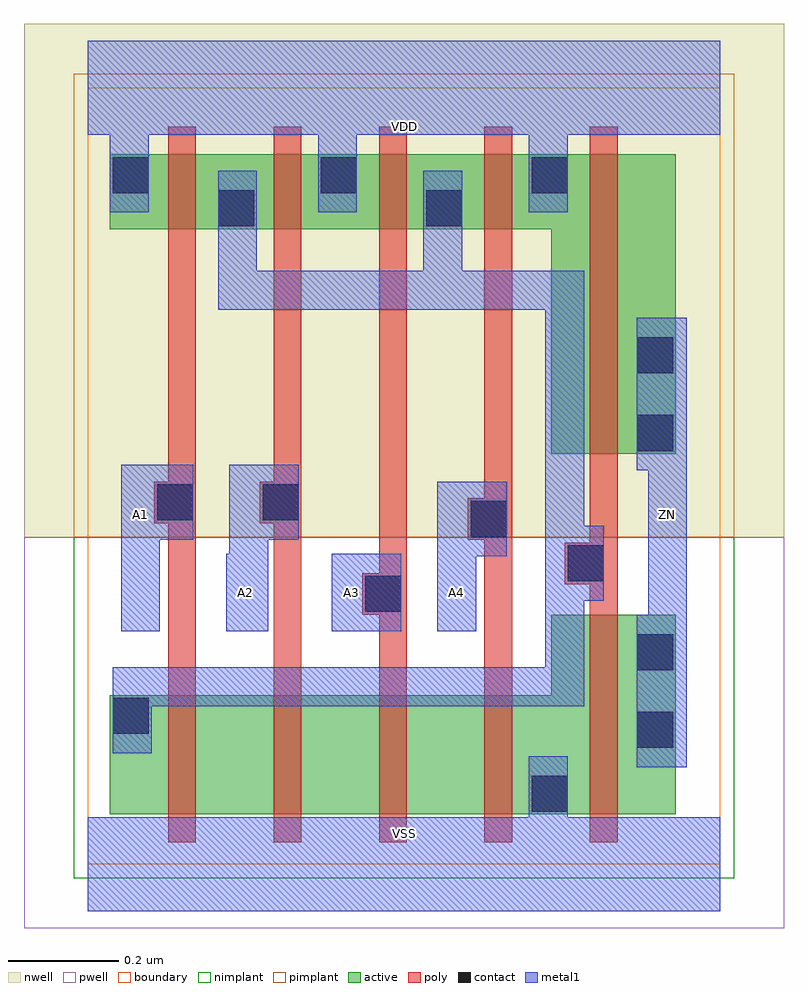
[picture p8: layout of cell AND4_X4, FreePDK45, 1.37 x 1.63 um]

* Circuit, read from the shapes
.subckt AND4_X4 A1 A2 A3 A4 VDD VSS ZN
M1 n1 A1 n2 VSUBS nfet w=0.215u l=0.05u
M2 n3 A2 n1 VSUBS nfet w=0.215u l=0.05u
M3 n4 A3 n3 VSUBS nfet w=0.215u l=0.05u
M4 VSS A4 n4 VSUBS nfet w=0.215u l=0.05u
M5 ZN n2 VSS VSUBS nfet w=0.36u l=0.05u
M6 n2 A1 VDD n5 pfet w=0.135u l=0.05u
M7 VDD A2 n2 n5 pfet w=0.135u l=0.05u
M8 n2 A3 VDD n5 pfet w=0.135u l=0.05u
M9 VDD A4 n2 n5 pfet w=0.135u l=0.05u
M10 ZN n2 VDD n5 pfet w=0.54u l=0.05u
.ends

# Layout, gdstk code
import gdstk
lib = gdstk.Library(unit=1e-6, precision=1e-10)
def R(c, l, rs):  # rectangles x0, y0, x1, y1
    for r in rs: c.add(gdstk.rectangle(r[:2], r[2:], *l))
def P(c, l, *ps):  # polygons
    for p in ps: c.add(gdstk.Polygon(p, *l))
active = (1, 0)
pwell = (2, 0)
nwell = (3, 0)
nimplant = (4, 0)
pimplant = (5, 0)
poly = (9, 0)
contact = (10, 0)
metal1 = (11, 0)
boundary = (235, 0)

and4_x4 = lib.new_cell('AND4_X4')
P(and4_x4, active, [(0.04,0.09),(1.06,0.09),(1.06,0.45),(0.835,0.45),(0.835,0.305),(0.04,0.305)],
  [(0.04,1.145),(0.835,1.145),(0.835,0.74),(1.06,0.74),(1.06,1.28),(0.04,1.28)])
R(and4_x4, pwell, [(-0.115,-0.115,1.255,0.59)])
R(and4_x4, nwell, [(-0.115,0.59,1.255,1.515)])
R(and4_x4, nimplant, [(-0.025,-0.025,1.165,0.59)])
R(and4_x4, pimplant, [(-0.025,0.59,1.165,1.425)])
P(and4_x4, poly, [(0.12,0.615),(0.145,0.615),(0.145,0.04),(0.195,0.04),(0.195,1.33),(0.145,1.33),(0.145,0.69),(0.12,0.69)],
  [(0.31,0.615),(0.335,0.615),(0.335,0.04),(0.385,0.04),(0.385,1.33),(0.335,1.33),(0.335,0.69),(0.31,0.69)],
  [(0.495,0.45),(0.525,0.45),(0.525,0.04),(0.575,0.04),(0.575,1.33),(0.525,1.33),(0.525,0.525),(0.495,0.525)],
  [(0.685,0.585),(0.715,0.585),(0.715,0.04),(0.765,0.04),(0.765,1.33),(0.715,1.33),(0.715,0.66),(0.685,0.66)],
  [(0.86,0.505),(0.905,0.505),(0.905,0.04),(0.955,0.04),(0.955,1.33),(0.905,1.33),(0.905,0.58),(0.86,0.58)])
R(and4_x4, contact, [(0.8,0.095,0.865,0.16), (0.99,0.21,1.055,0.275), (0.045,0.235,0.11,0.3), (0.99,0.35,1.055,0.415), (0.5,0.455,0.565,0.52), (0.865,0.51,0.93,0.575), (0.69,0.59,0.755,0.655), (0.125,0.62,0.19,0.685), (0.315,0.62,0.38,0.685), (0.99,0.745,1.055,0.81), (0.99,0.885,1.055,0.95), (0.235,1.15,0.3,1.215), (0.61,1.15,0.675,1.215), (0.045,1.21,0.11,1.275), (0.42,1.21,0.485,1.275), (0.8,1.21,0.865,1.275)])
R(and4_x4, metal1, [(0.44,0.42,0.565,0.56)])
P(and4_x4, metal1, [(0.06,0.42),(0.13,0.42),(0.13,0.585),(0.19,0.585),(0.19,0.72),(0.06,0.72)],
  [(0.25,0.42),(0.325,0.42),(0.325,0.585),(0.38,0.585),(0.38,0.72),(0.255,0.72),(0.255,0.56),(0.25,0.56)],
  [(0.63,0.42),(0.7,0.42),(0.7,0.555),(0.755,0.555),(0.755,0.69),(0.63,0.69)],
  [(0.235,1),(0.825,1),(0.825,0.355),(0.045,0.355),(0.045,0.2),(0.115,0.2),(0.115,0.285),(0.895,0.285),(0.895,0.475),(0.93,0.475),(0.93,0.61),(0.895,0.61),(0.895,1.07),(0.675,1.07),(0.675,1.25),(0.605,1.25),(0.605,1.07),(0.305,1.07),(0.305,1.25),(0.235,1.25)],
  [(0.99,0.71),(1.01,0.71),(1.01,0.45),(0.99,0.45),(0.99,0.175),(1.08,0.175),(1.08,0.985),(0.99,0.985)],
  [(0,-0.085),(1.14,-0.085),(1.14,0.085),(0.865,0.085),(0.865,0.195),(0.795,0.195),(0.795,0.085),(0,0.085)],
  [(0,1.315),(0.04,1.315),(0.04,1.175),(0.11,1.175),(0.11,1.315),(0.415,1.315),(0.415,1.175),(0.485,1.175),(0.485,1.315),(0.795,1.315),(0.795,1.175),(0.865,1.175),(0.865,1.315),(1.14,1.315),(1.14,1.485),(0,1.485)])
R(and4_x4, boundary, [(0,0,1.14,1.4)])
and4_x4.add(gdstk.Label('A1', (0.095,0.63), layer=11, texttype=0))
and4_x4.add(gdstk.Label('A2', (0.285,0.49), layer=11, texttype=0))
and4_x4.add(gdstk.Label('A3', (0.475,0.49), layer=11, texttype=0))
and4_x4.add(gdstk.Label('A4', (0.665,0.49), layer=11, texttype=0))
and4_x4.add(gdstk.Label('VDD', (0.57,1.33), layer=11, texttype=0))
and4_x4.add(gdstk.Label('VSS', (0.57,0.055), layer=11, texttype=0))
and4_x4.add(gdstk.Label('ZN', (1.045,0.63), layer=11, texttype=0))

lib.write_gds('AND4_X4.gds')
